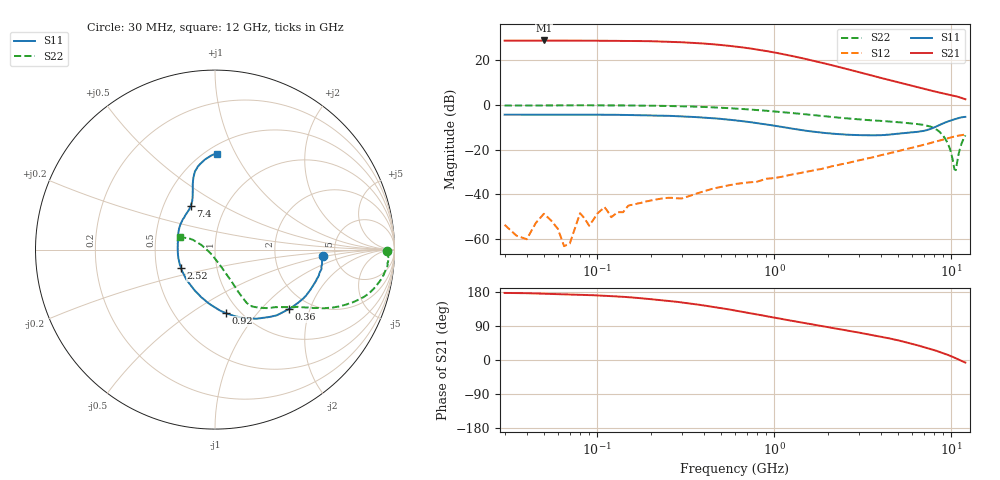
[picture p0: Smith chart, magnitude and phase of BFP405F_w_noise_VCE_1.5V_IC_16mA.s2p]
! Infineon Technologies  Discrete & RF Semiconductors
! BFP405F
! VCE =  1.5 V,  IC =  16 mA
! Common Emitter S-Parameters:  Nov 2015
# GHz  S  MA  R  50
!  f  S11  S21  S12  S22
! GHz  MAG  ANG  MAG  ANG  MAG  ANG  MAG  ANG
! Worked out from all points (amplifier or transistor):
!   239 points, 30 MHz to 12 GHz, reference 50 ohm
!   highest |S21| = 28.7 dB at 50 MHz (marker M1)
!   |S21| within 3 dB of that: start of sweep to 646.6 MHz
!   unconditionally stable (mu >= 1): 1.67 GHz to end of sweep
!   at 300 MHz: K = 0.32, MSG = 34.8 dB, |S12| = -41.8 dB
!   at 1.88 GHz: K = 1.07, MAG = 21.9 dB, |S12| = -28.5 dB
!   at 12 GHz: K = 1.40, MAG = 4.1 dB, |S12| = -13.3 dB
!   lowest NFmin = 2.03 dB at 450 MHz
!   S11 on the Smith chart (normalised r, x): 30 MHz: 3.97, -0.43; 360 MHz: 1.59, -1.46; 920 MHz: 0.86, -0.70; 2.52 GHz: 0.67, -0.15; 7.4 GHz: 0.68, +0.36; 12 GHz: 0.57, +0.85
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0.03  0.6012 -3.3  26.81 177.0  0.0021 162.1  0.9573 -0.5
0.04  0.5996 -4.5  26.89 176.3  0.001 79.2  0.9624 -1.0
0.05  0.5996 -6.3  27.08 174.9  0.0037 61.3  0.9653 -1.6
0.065  0.6011 -7.2  26.86 173.5  0.0007 121.7  0.9649 -2.1
0.085  0.6019 -9.8  26.77 171.6  0.0029 117.5  0.9703 -3.2
0.15  0.5891 -17.2  26.47 165.8  0.0056 82.5  0.9603 -6.3
0.2  0.5771 -22.7  26.07 160.6  0.0073 87.2  0.9497 -8.6
0.24  0.5683 -26.8  25.45 157.2  0.0083 84.5  0.9396 -10.2
0.3  0.5489 -32.9  24.69 151.9  0.0081 77.9  0.9223 -12.5
0.36  0.5296 -38.6  23.72 147.0  0.0103 76.2  0.9046 -14.5
0.48  0.4902 -49.3  21.8 138.2  0.0142 75.1  0.8624 -18.2
0.6  0.4489 -59.1  19.87 130.5  0.017 73.1  0.8212 -21.0
0.7  0.4177 -66.2  18.42 125.1  0.0183 71.1  0.79 -22.9
0.92  0.3584 -80.4  15.53 115.0  0.0225 69.0  0.728 -26.4
1.3  0.287 -101.5  11.88 102.0  0.0284 68.0  0.6447 -30.3
1.64  0.2517 -117.5  9.678 94.0  0.0339 67.6  0.5913 -33.0
2.52  0.216 -151.1  6.37 78.6  0.0488 66.2  0.499 -39.9
4.5  0.216 163.2  3.515 56.7  0.0835 60.3  0.422 -50.5
7.4  0.2777 119.4  2.138 30.7  0.1352 48.1  0.3359 -59.5
9.2  0.3986 107.9  1.751 16.3  0.1713 38.6  0.1777 -63.5
10.6  0.4838 99.9  1.544 4.5  0.1985 29.7  0.0347 -157.3
12  0.5353 88.6  1.322 -6.7  0.2167 21.8  0.2076 160.5
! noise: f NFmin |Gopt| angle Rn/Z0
0.45  2.03  0.08  1  0.37
0.9  2.05  0.07  3  0.39
1.5  2.1  0.06  5  0.16
1.9  2.15  0.05  6  0.27
2.4  2.3  0.02  -8  0.38
3  2.38  0.02  -67  0.22
3.5  2.44  0.03  -99  0.35
4.5  2.65  0.09  -97  0.43
5.5  2.93  0.18  -88  0.16
